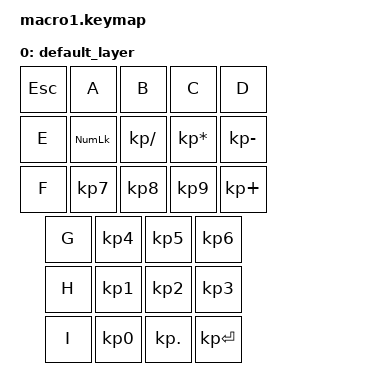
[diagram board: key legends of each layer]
#include <behaviors.dtsi>
#include <dt-bindings/zmk/keys.h>

/ {
    keymap {
        compatible = "zmk,keymap";

        default_layer {
// --------------------------------------------------------------------------------------------------------------------------------------------------------------------
// |   ESC   |    Q    |    W    |    E    |    R    |    T    |                                          |    Y    |    U    |    I    |    O    |    P    |    \    |
// |   TAB   |    A    |    S    |    D    |    F    |    G    |                                          |    H    |    J    |    K    |    L    |    ;    |    '    |
// |  SHIFT  |    Z    |    X    |    C    |    V    |    B    | CTRL+A  | CTRL+C  |  |  CTRL+V |  CTRL+X |    N    |    M    |    ,    |    .    |    /    |  R CTRL |
//                               |   GUI   |   DEL   | RETURN  |  SPACE  | ESCAPE  |  |  RETURN |  SPACE  |   TAB   |   BSPC  |  R ALT  |
            bindings = <
    &kp ESC  &kp A    &kp B    &kp C     &kp D
    &kp E    &kp KP_NUMLOCK    &kp KP_DIVIDE    &kp KP_MULTIPLY     &kp KP_MINUS
    &kp F    &kp KP_N7    &kp KP_N8    &kp KP_N9     &kp KP_PLUS
    &kp G    &kp KP_N4    &kp KP_N5    &kp KP_N6
    &kp H    &kp KP_N1    &kp KP_N2    &kp KP_N3
    &kp I    &kp KP_N0    &kp KP_DOT    &kp KP_ENTER
            >;
        };
    };
};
